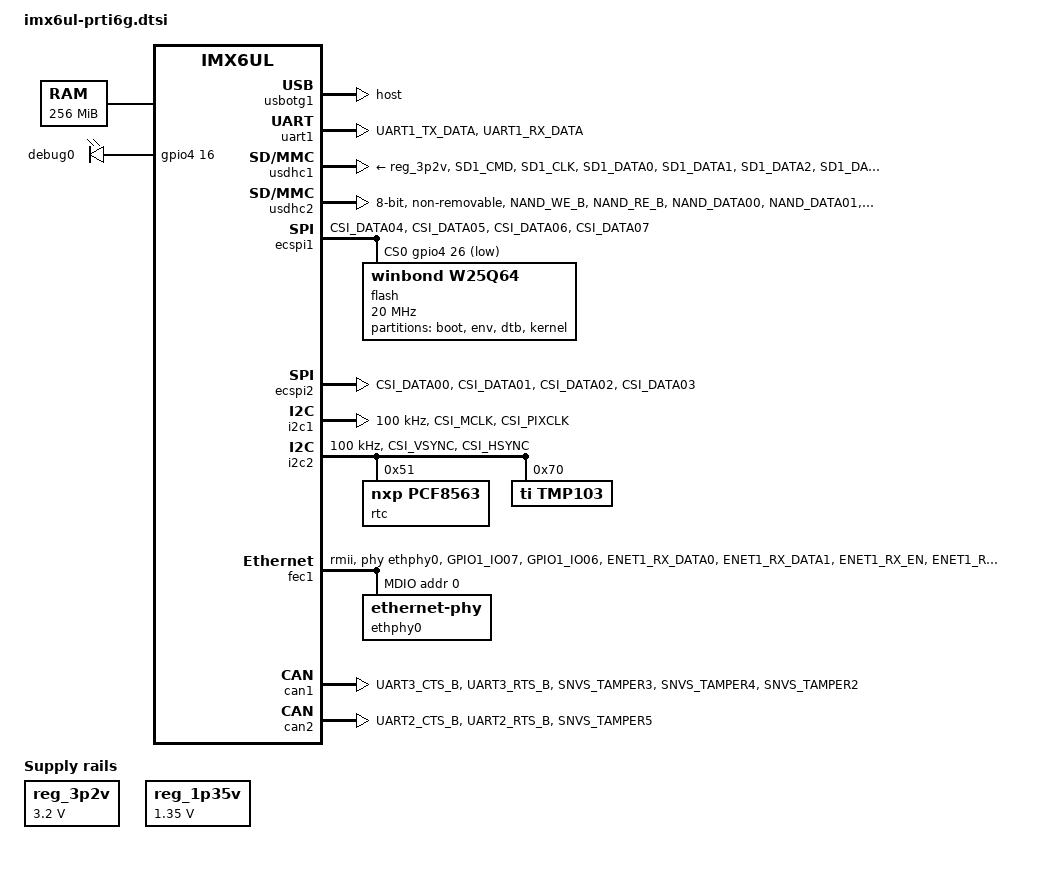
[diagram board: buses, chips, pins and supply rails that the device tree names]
/*
 * Copyright (C) 2016 Protonic Holland
 *
 * This program is free software; you can redistribute it and/or
 * modify it under the terms of the GNU General Public License as
 * published by the Free Software Foundation; either version 2 of
 * the License, or (at your option) any later version.
 *
 * This program is distributed in the hope that it will be useful,
 * but WITHOUT ANY WARRANTY; without even the implied warranty of
 * MERCHANTABILITY or FITNESS FOR A PARTICULAR PURPOSE.  See the
 * GNU General Public License for more details.
 */

#include <arm/imx6ul.dtsi>
#include <dt-bindings/gpio/gpio.h>

/ {
	chosen {
		stdout-path = &uart1;
		environment@0 {
			compatible = "barebox,environment";
			device-path = &flash, "partname:env";
		};
	};

	memory {
		reg = <0x80000000 0x10000000>;
	};

	regulators {
		compatible = "simple-bus";
		#address-cells = <1>;
		#size-cells = <0>;

		reg_3p2v: 3p2-regulator {
			compatible = "regulator-fixed";
			regulator-name = "regulator-3P2V";
			regulator-min-microvolt = <3200000>;
			regulator-max-microvolt = <3200000>;
			regulator-always-on;
		};

		reg_1p35v: 1p35-regulator {
			compatible = "regulator-fixed";
			regulator-name = "regulator-1P35V";
			regulator-min-microvolt = <1350000>;
			regulator-max-microvolt = <1350000>;
			regulator-always-on;
		};
	};

	leds: leds {
		compatible = "gpio-leds";
		pinctrl-names = "default";
		pinctrl-0 = <&pinctrl_leds>;

		debug {
			label = "debug0";
			gpios = <&gpio4 16 0>;
			linux,default-trigger = "heartbeat";
		};
	};
};

&usbotg1 {
	dr_mode = "host";
	status = "okay";
};

&uart1 {
	pinctrl-names = "default";
	pinctrl-0 = <&pinctrl_uart1>;
	status = "okay";
};

&usdhc1 {
	pinctrl-names = "default";
	pinctrl-0 = <&pinctrl_usdhc1>;
	cd-gpios = <&gpio4 12 GPIO_ACTIVE_LOW>;
	vmmc-supply = <&reg_3p2v>;
	wakeup-source;
	status = "okay";
};

&usdhc2 {
	pinctrl-names = "default";
	pinctrl-0 = <&pinctrl_usdhc2>;
	bus-width = <8>;
	non-removable;
	status = "okay";
};

&ecspi1 {
	fsl,spi-num-chipselects = <1>;
	cs-gpios = <&gpio4 26 GPIO_ACTIVE_LOW>;
	pinctrl-names = "default";
	pinctrl-0 = <&pinctrl_ecspi1>;
	status = "okay";

	flash: w25q64fv@0 {
		compatible = "winbond,w25q64", "jedec,spi-nor";
		spi-max-frequency = <20000000>;
		m25p,fast-read;
		reg = <0>;

		#address-cells = <1>;
		#size-cells = <1>;

		partition@0 {
			label = "boot";
			reg = <0x0 0x60000>;		/* 384 Kb */
		};

		partition@60000 {
			label = "env";
			reg = <0x60000 0x10000>;	/* 64 Kb */
		};

		partition@70000 {
			label = "dtb";
			reg = <0x70000 0x10000>;	/* 64 Kb */
		};

		partition@80000 {
			label = "kernel";
			reg = <0x80000 0x780000>;	/* 7680 Kb */
		};
	};
};

&ecspi2 {
	fsl,spi-num-chipselects = <1>;
	cs-gpios = <&gpio4 22 GPIO_ACTIVE_LOW>;
	pinctrl-names = "default";
	pinctrl-0 = <&pinctrl_ecspi2>;
};

&i2c1 {
	pinctrl-names = "default";
	pinctrl-0 = <&pinctrl_i2c1>;
	clock-frequency = <100000>;
	status = "okay";

	/* RFID chip */
};

&i2c2 {
	pinctrl-names = "default";
	pinctrl-0 = <&pinctrl_i2c2>;
	clock-frequency = <100000>;
	status = "okay";

	rtc: pcf8563@51 {
		compatible = "nxp,pcf8563";
		reg = <0x51>;
	};

	tmp103: tmp103@70 {
		compatible = "ti,tmp103", "tmp103";
		reg = <0x70>;
	};
};

&fec1 {
	pinctrl-names = "default";
	pinctrl-0 = <&pinctrl_fec1 &pinctrl_ethphy0_rst>;
	phy-mode = "rmii";
	phy-handle = <&ethphy0>;
	phy-reset-gpios = <&gpio5 0 GPIO_ACTIVE_LOW>;
	phy-reset-duration = <11>;
	status = "okay";

	mdio {
		#address-cells = <1>;
		#size-cells = <0>;

		ethphy0: ethernet-phy@0 {
			reg = <0>;
		};
	};
};


&can1 {
	pinctrl-names = "default";
	pinctrl-0 = <&pinctrl_flexcan1>;
	status = "okay";
};

&can2 {
	pinctrl-names = "default";
	pinctrl-0 = <&pinctrl_flexcan2>;
};

&iomuxc {
	pinctrl-names = "default";
	pinctrl-0 = <&pinctrl_hog>;

	prti6g {
		pinctrl_hog: hoggrp {
			fsl,pins = <
				/* HW revision detect */
				MX6UL_PAD_ENET2_RX_DATA0__GPIO2_IO08	0x1b0b0	/* REV_ID0 */
				MX6UL_PAD_ENET2_RX_DATA1__GPIO2_IO09	0x1b0b0	/* REV_ID1 */
				MX6UL_PAD_ENET2_RX_EN__GPIO2_IO10	0x1b0b0 /* REV_ID2 */
				MX6UL_PAD_ENET2_TX_DATA0__GPIO2_IO11	0x1b0b0	/* REV_ID3 */
				MX6UL_PAD_ENET2_TX_EN__GPIO2_IO13	0x1b0b0	/* BOARD_ID0 */
				MX6UL_PAD_ENET2_TX_CLK__GPIO2_IO14	0x1b0b0	/* BOARD_ID1 */
				MX6UL_PAD_ENET2_RX_ER__GPIO2_IO15	0x1b0b0	/* BOARD_ID2 */
				MX6UL_PAD_ENET2_TX_DATA1__GPIO2_IO12	0x1b0b0	/* BOARD_ID3 */

				/* CAN diagnostics (nSMBALERT) */
				MX6UL_PAD_SNVS_TAMPER2__GPIO5_IO02	0x1b0b0
			>;
		};

		pinctrl_leds: ledsgrp {
			fsl,pins = <
				MX6UL_PAD_NAND_DQS__GPIO4_IO16		0x1b0b0
			>;
		};

		pinctrl_uart1: uart1grp {
			fsl,pins = <
				MX6UL_PAD_UART1_TX_DATA__UART1_DCE_TX	0x1b0b1
				MX6UL_PAD_UART1_RX_DATA__UART1_DCE_RX	0x1b0b1
			>;
		};

		pinctrl_usdhc1: usdhc1grp {
			fsl,pins = <
				MX6UL_PAD_SD1_CMD__USDHC1_CMD		0x070b1
				MX6UL_PAD_SD1_CLK__USDHC1_CLK		0x07099
				MX6UL_PAD_SD1_DATA0__USDHC1_DATA0	0x070b1
				MX6UL_PAD_SD1_DATA1__USDHC1_DATA1	0x070b1
				MX6UL_PAD_SD1_DATA2__USDHC1_DATA2	0x070b1
				MX6UL_PAD_SD1_DATA3__USDHC1_DATA3	0x070b1
				MX6UL_PAD_NAND_READY_B__GPIO4_IO12	0x170b0 /* SD1 CD */
			>;
		};

		pinctrl_usdhc2: usdhc2grp {
			fsl,pins = <
				MX6UL_PAD_NAND_WE_B__USDHC2_CMD		0x170f9
				MX6UL_PAD_NAND_RE_B__USDHC2_CLK		0x100f9
				MX6UL_PAD_NAND_DATA00__USDHC2_DATA0	0x170f9
				MX6UL_PAD_NAND_DATA01__USDHC2_DATA1	0x170f9
				MX6UL_PAD_NAND_DATA02__USDHC2_DATA2	0x170f9
				MX6UL_PAD_NAND_DATA03__USDHC2_DATA3	0x170f9
				MX6UL_PAD_NAND_DATA04__USDHC2_DATA4	0x170f9
				MX6UL_PAD_NAND_DATA05__USDHC2_DATA5	0x170f9
				MX6UL_PAD_NAND_DATA06__USDHC2_DATA6	0x170f9
				MX6UL_PAD_NAND_DATA07__USDHC2_DATA7	0x170f9
				MX6UL_PAD_NAND_ALE__USDHC2_RESET_B	0x170b0
			>;
		};

		pinctrl_ecspi1: ecspi1grp {
			fsl,pins = <
				MX6UL_PAD_CSI_DATA04__ECSPI1_SCLK 	0x0b0b0
				MX6UL_PAD_CSI_DATA05__GPIO4_IO26	0x000b1
				MX6UL_PAD_CSI_DATA06__ECSPI1_MOSI	0x0b0b0
				MX6UL_PAD_CSI_DATA07__ECSPI1_MISO	0x0b0b0
			>;
		};

		pinctrl_ecspi2: ecspi2grp {
			fsl,pins = <
				MX6UL_PAD_CSI_DATA00__ECSPI2_SCLK 	0x0b0b0
				MX6UL_PAD_CSI_DATA01__GPIO4_IO22	0x000b1
				MX6UL_PAD_CSI_DATA02__ECSPI2_MOSI	0x0b0b0
				MX6UL_PAD_CSI_DATA03__ECSPI2_MISO	0x0b0b0
			>;
		};

		pinctrl_i2c1: i2c1grp {
			fsl,pins = <
				MX6UL_PAD_CSI_MCLK__I2C1_SDA		0x4001b8b0
				MX6UL_PAD_CSI_PIXCLK__I2C1_SCL		0x4001b8b0
			>;
		};

		pinctrl_i2c2: i2c2grp {
			fsl,pins = <
				MX6UL_PAD_CSI_VSYNC__I2C2_SDA		0x4001b8b0
				MX6UL_PAD_CSI_HSYNC__I2C2_SCL		0x4001b8b0
			>;
		};

		pinctrl_fec1: fec1grp {
			fsl,pins = <
				MX6UL_PAD_GPIO1_IO07__ENET1_MDC		0x1b0b0
				MX6UL_PAD_GPIO1_IO06__ENET1_MDIO	0x100b0
				MX6UL_PAD_ENET1_RX_DATA0__ENET1_RDATA00	0x1b0b0
				MX6UL_PAD_ENET1_RX_DATA1__ENET1_RDATA01	0x1b0b0
				MX6UL_PAD_ENET1_RX_EN__ENET1_RX_EN	0x100b0
				MX6UL_PAD_ENET1_RX_ER__ENET1_RX_ER	0x1b0b0
				MX6UL_PAD_ENET1_TX_EN__ENET1_TX_EN	0x1b0b0
				MX6UL_PAD_ENET1_TX_DATA0__ENET1_TDATA00	0x1b0b0
				MX6UL_PAD_ENET1_TX_DATA1__ENET1_TDATA01	0x1b0b0
				MX6UL_PAD_ENET1_TX_CLK__ENET1_REF_CLK1	0x4001b031
			>;
		};

		pinctrl_ethphy0_rst: ethphy-rstgrp-0 {
			fsl,pins = <
				MX6UL_PAD_SNVS_TAMPER0__GPIO5_IO00	0x00880 /* PHY RESET */
			>;
		};

		pinctrl_flexcan1: flexcan1grp {
			fsl,pins = <
				MX6UL_PAD_UART3_CTS_B__FLEXCAN1_TX	0x0b0b0
				MX6UL_PAD_UART3_RTS_B__FLEXCAN1_RX	0x0b0b0
				MX6UL_PAD_SNVS_TAMPER3__GPIO5_IO03	0x0b0b0	/* SR */
				MX6UL_PAD_SNVS_TAMPER4__GPIO5_IO04	0x0b0b0	/* TERM */
				MX6UL_PAD_SNVS_TAMPER2__GPIO5_IO02	0x0b0b0	/* nSMBALERT */
			>;
		};

		pinctrl_flexcan2: flexcan2grp {
			fsl,pins = <
				MX6UL_PAD_UART2_CTS_B__FLEXCAN2_TX	0x0b0b0
				MX6UL_PAD_UART2_RTS_B__FLEXCAN2_RX	0x0b0b0
				MX6UL_PAD_SNVS_TAMPER5__GPIO5_IO05	0x0b0b0	/* SR */
			>;
		};
	};
};
